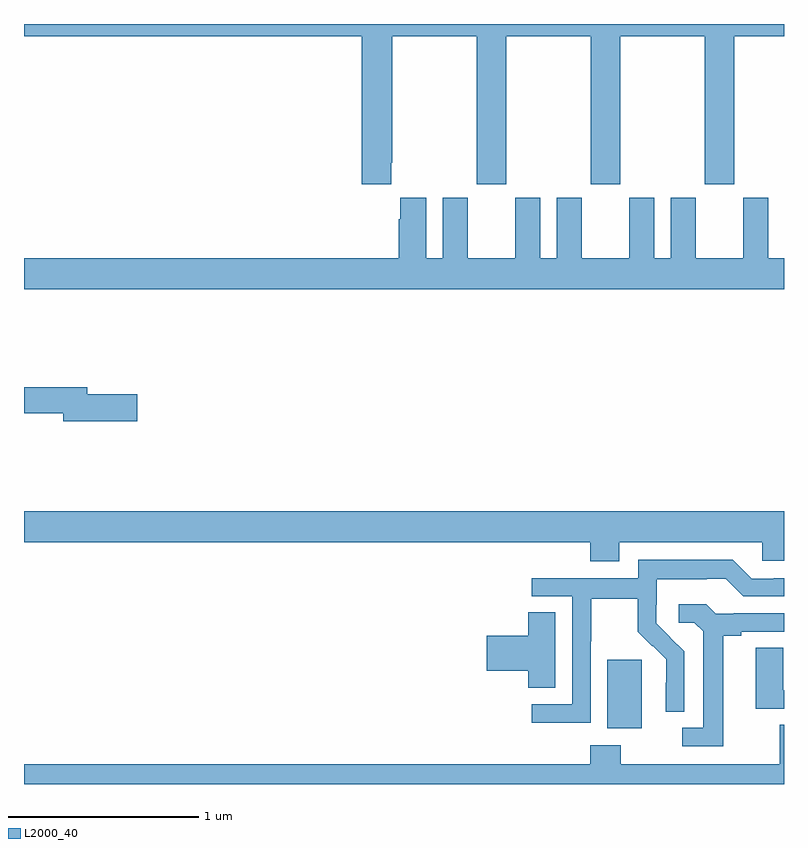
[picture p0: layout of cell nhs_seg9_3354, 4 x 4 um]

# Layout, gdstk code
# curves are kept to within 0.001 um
import gdstk
lib = gdstk.Library(unit=1e-6, precision=1e-09)
def R(c, l, rs):  # rectangles x0, y0, x1, y1
    for r in rs: c.add(gdstk.rectangle(r[:2], r[2:], *l))
def P(c, l, *ps):  # polygons
    for p in ps: c.add(gdstk.Polygon(p, *l))
L2000_40 = (2000, 40)

nhs_seg9_3354 = lib.new_cell('nhs_seg9_3354')
R(nhs_seg9_3354, L2000_40, [(306.071,1176.794,306.25,1177.155)])
P(nhs_seg9_3354, L2000_40, [(304.933,1179.769),(304.938,1179.769),(304.938,1180.436),(305.383,1180.436),(305.383,1179.657),(305.538,1179.657),(305.538,1180.436),(305.983,1180.436),(305.983,1179.657),(306.138,1179.657),(306.138,1180.436),(306.583,1180.436),(306.583,1179.657),(306.738,1179.657),(306.738,1180.436),(307,1180.436),(307,1180.5),(303,1180.5),(303,1180.436),(304.778,1180.436),(304.778,1179.657),(304.933,1179.657)],
  [(305.804,1179.586),(305.804,1179.268),(305.716,1179.268),(305.716,1179.586),(305.585,1179.586),(305.585,1179.268),(305.335,1179.268),(305.335,1179.586),(305.204,1179.586),(305.204,1179.268),(305.116,1179.268),(305.116,1179.586),(304.979,1179.586),(304.979,1179.473),(304.973,1179.473),(304.973,1179.268),(303,1179.268),(303,1179.104),(307,1179.104),(307,1179.268),(306.916,1179.268),(306.916,1179.586),(306.785,1179.586),(306.785,1179.268),(306.535,1179.268),(306.535,1179.586),(306.404,1179.586),(306.404,1179.268),(306.316,1179.268),(306.316,1179.586),(306.185,1179.586),(306.185,1179.268),(305.935,1179.268),(305.935,1179.586)],
  [(303.595,1178.552),(303.334,1178.552),(303.334,1178.588),(303,1178.588),(303,1178.452),(303.206,1178.452),(303.206,1178.41),(303.595,1178.41)],
  [(306.133,1177.772),(306.885,1177.772),(306.885,1177.674),(307,1177.674),(307,1177.936),(303,1177.936),(303,1177.772),(305.981,1177.772),(305.981,1177.673),(306.133,1177.673)],
  [(305.982,1177.252),(305.985,1177.252),(305.985,1177.476),(306.229,1177.476),(306.229,1177.301),(306.306,1177.224),(306.309,1177.227),(306.38,1177.157),(306.38,1177.034),(306.378,1177.034),(306.378,1176.88),(306.474,1176.88),(306.474,1177.198),(306.328,1177.346),(306.328,1177.443),(306.33,1177.443),(306.33,1177.577),(306.593,1177.577),(306.593,1177.581),(306.693,1177.581),(306.786,1177.488),(307,1177.488),(307,1177.584),(306.947,1177.584),(306.947,1177.581),(306.831,1177.581),(306.731,1177.681),(306.234,1177.681),(306.234,1177.584),(305.673,1177.584),(305.673,1177.488),(305.886,1177.488),(305.886,1176.921),(305.673,1176.921),(305.673,1176.823),(305.982,1176.823)],
  [(306.679,1177.28),(306.775,1177.28),(306.775,1177.302),(307,1177.302),(307,1177.398),(306.736,1177.398),(306.736,1177.395),(306.642,1177.395),(306.59,1177.447),(306.447,1177.447),(306.447,1177.35),(306.528,1177.35),(306.575,1177.303),(306.575,1176.795),(306.465,1176.795),(306.465,1176.699),(306.679,1176.699)],
  [(305.797,1177.403),(305.654,1177.403),(305.654,1177.28),(305.436,1177.28),(305.436,1177.097),(305.654,1177.097),(305.654,1177.006),(305.797,1177.006)],
  [(307,1176.993),(306.996,1176.993),(306.996,1177.217),(306.851,1177.217),(306.851,1176.897),(307,1176.897)],
  [(307,1176.812),(306.977,1176.812),(306.977,1176.604),(306.141,1176.604),(306.141,1176.703),(305.981,1176.703),(305.981,1176.604),(303,1176.604),(303,1176.5),(307,1176.5)])

lib.write_gds('nhs_seg9_3354.gds')
